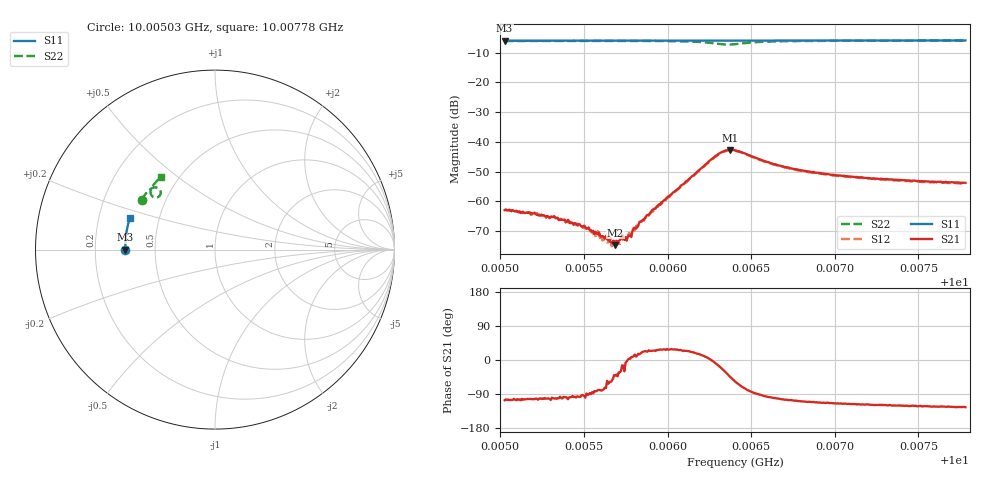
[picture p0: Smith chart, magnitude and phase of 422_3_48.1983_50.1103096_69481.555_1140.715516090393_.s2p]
#  HZ  S  RI  R  50.00
! Rohde & Schwarz Vector Network Analyzer
! Rohde-Schwarz,ZNB20-2Port,1311601062101988,3.16
! Created: UTC 3/20/2024, 11:54:59 AM
! freq[Hz]  re:S11  im:S11  re:S21  im:S21  re:S12  im:S12  re:S22  im:S22
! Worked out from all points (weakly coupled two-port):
!   401 points, 10.00503 GHz to 10.00778 GHz, reference 50 ohm
!   highest |S21| = -42.70 dB at 10.00638 GHz (marker M1); lowest = -74.7 dB at 10.00569 GHz (marker M2)
!   lowest |S11| = -6.0 dB at 10.00503 GHz (marker M3), VSWR 3.00, Z = 16.7 - j0.0286 ohm
!   |S11| at or under -10 dB: nowhere
!   |S22| runs from -7.3 to -6.0 dB; largest |S21 - S12| = 0.00043
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1.0005026e10  -0.4997 -0.000644  -0.000196 -0.000679  -0.000147 -0.000721  -0.4085 0.2789
1.0005322e10  -0.5002 0.0185  -0.000113 -0.000553  -7.74e-05 -0.000537  -0.397 0.2964
1.0005488e10  -0.4999 0.0293  -1.65e-05 -0.000374  -3.44e-05 -0.000378  -0.39 0.3063
1.0005515e10  -0.4997 0.031  9.66e-06 -0.000349  -9.15e-07 -0.000346  -0.3888 0.308
1.0005556e10  -0.4997 0.0337  1.07e-05 -0.000319  2.33e-05 -0.000283  -0.3867 0.3106
1.0005591e10  -0.4996 0.036  5.63e-05 -0.000294  6.13e-05 -0.000259  -0.3851 0.3127
1.0005625e10  -0.4995 0.0381  7.15e-05 -0.000228  8.37e-05 -0.000204  -0.3834 0.3148
1.0005653e10  -0.4994 0.04  0.000119 -0.000189  0.000125 -0.000188  -0.382 0.3163
1.0005687e10  -0.4993 0.0421  0.000138 -0.000121  0.000177 -0.000132  -0.3801 0.3186
1.0005701e10  -0.4994 0.0432  0.000146 -0.000137  0.000166 -8.6e-05  -0.3794 0.3193
1.0005715e10  -0.4993 0.0439  0.000186 -0.000118  0.000181 -6.5e-05  -0.3785 0.3203
1.000577e10  -0.4991 0.0475  0.000261 1.66e-05  0.000292 2.35e-06  -0.3754 0.3237
1.0005846e10  -0.4986 0.0524  0.000442 0.00016  0.000434 0.000144  -0.3707 0.3286
1.0005949e10  -0.4981 0.0591  0.000784 0.000404  0.000763 0.000429  -0.3629 0.3355
1.0006279e10  -0.4954 0.0804  0.00552 -0.000561  0.00541 -0.000267  -0.3067 0.3322
1.0006328e10  -0.4948 0.0833  0.00619 -0.00273  0.00621 -0.00238  -0.3028 0.3119
1.0006376e10  -0.4944 0.0862  0.00517 -0.00519  0.00533 -0.00482  -0.3159 0.2935
1.0006403e10  -0.4942 0.0876  0.00397 -0.006  0.00422 -0.00566  -0.3278 0.2897
1.0006637e10  -0.4923 0.1027  -0.000739 -0.00412  -0.000559 -0.00412  -0.3586 0.329
1.0006865e10  -0.4897 0.1173  -0.0011 -0.00288  -0.000956 -0.00286  -0.3489 0.3521
1.0007326e10  -0.4827 0.1461  -0.00111 -0.00204  -0.00104 -0.00206  -0.3255 0.3802
1.0007781e10  -0.4744 0.1743  -0.00115 -0.00168  -0.00105 -0.0017  -0.3024 0.402
